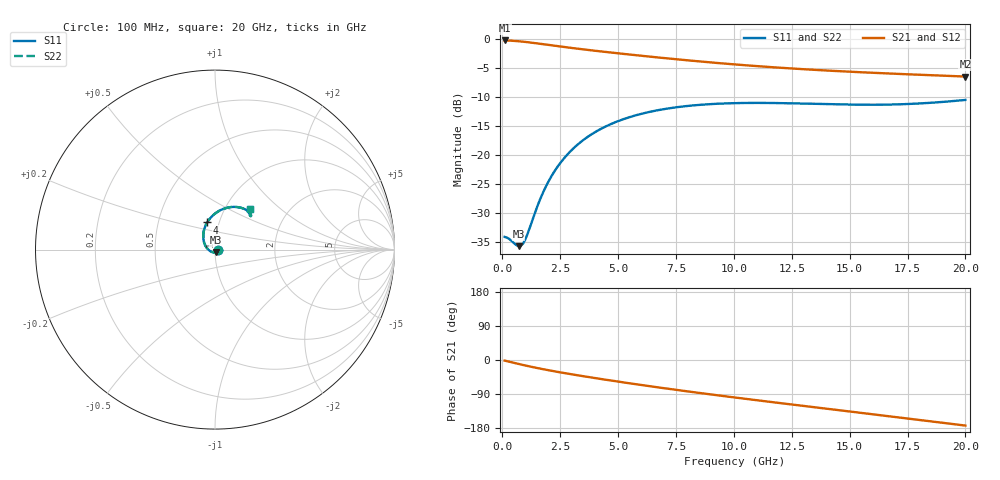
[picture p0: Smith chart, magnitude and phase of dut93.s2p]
! Created with skrf 1.9.0 (http://scikit-rf.org).
# GHz S RI R 50.0
!freq ReS11 ImS11 ReS21 ImS21 ReS12 ImS12 ReS22 ImS22
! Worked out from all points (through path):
!   200 points, 100 MHz to 20 GHz, reference 50 ohm
!   highest |S21| = -0.18 dB at 100 MHz (marker M1); lowest = -6.4 dB at 20 GHz (marker M2)
!   group delay of S21, straight-line fit = 22.7 ps
!   lowest |S11| = -35.8 dB at 700 MHz (marker M3), VSWR 1.03, Z = 50.3 - j1.59 ohm
!   |S11| at or under -10 dB: start of sweep to end of sweep
!   |S22| runs from -35.8 to -10.5 dB; largest |S21 - S12| = 3.1e-15
!   S11 on the Smith chart (normalised r, x): 100 MHz: 1.04, -0.01; 4 GHz: 0.88, +0.27; 20 GHz: 1.30, +0.65
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0.1  0.0193 -0.00285  0.9797 -0.0261  0.9797 -0.0261  0.0193 -0.00285
0.3  0.0166 -0.00853  0.9741 -0.0775  0.9741 -0.0775  0.0166 -0.00853
0.7  0.0036 -0.0158  0.9492 -0.1744  0.9492 -0.1744  0.0036 -0.0158
0.8  -0.000852 -0.0163  0.9405 -0.197  0.9405 -0.197  -0.000852 -0.0163
0.9  -0.0056 -0.0162  0.931 -0.2188  0.931 -0.2188  -0.0056 -0.0162
1  -0.0105 -0.0154  0.9209 -0.2398  0.9209 -0.2398  -0.0105 -0.0154
1.7  -0.0439 0.00687  0.8373 -0.3647  0.8373 -0.3647  -0.0439 0.00687
1.9  -0.0512 0.0175  0.8113 -0.3939  0.8113 -0.3939  -0.0512 0.0175
2.2  -0.0595 0.0357  0.7719 -0.4332  0.7719 -0.4332  -0.0595 0.0357
2.8  -0.0655 0.076  0.6928 -0.4985  0.6928 -0.4985  -0.0655 0.076
3.5  -0.0572 0.1219  0.6017 -0.5572  0.6017 -0.5572  -0.0572 0.1219
4  -0.0437 0.151  0.5378 -0.59  0.5378 -0.59  -0.0437 0.151
5.3  0.00759 0.2061  0.3769 -0.6453  0.3769 -0.6453  0.00759 0.2061
6.8  0.0731 0.2345  0.2053 -0.6648  0.2053 -0.6648  0.0731 0.2345
8.3  0.1285 0.2364  0.0539 -0.6488  0.0539 -0.6488  0.1285 0.2364
10.1  0.1732 0.2213  -0.099 -0.5982  -0.099 -0.5982  0.1732 0.2213
11.7  0.1939 0.2042  -0.2104 -0.5342  -0.2104 -0.5342  0.1939 0.2042
13.4  0.2009 0.1907  -0.3064 -0.4526  -0.3064 -0.4526  0.2009 0.1907
15.1  0.1987 0.1864  -0.381 -0.3603  -0.381 -0.3603  0.1987 0.1864
16.7  0.1937 0.1922  -0.4319 -0.2656  -0.4319 -0.2656  0.1937 0.1922
18.4  0.1909 0.2075  -0.4644 -0.1594  -0.4644 -0.1594  0.1909 0.2075
20  0.1942 0.2277  -0.4738 -0.0577  -0.4738 -0.0577  0.1942 0.2277
